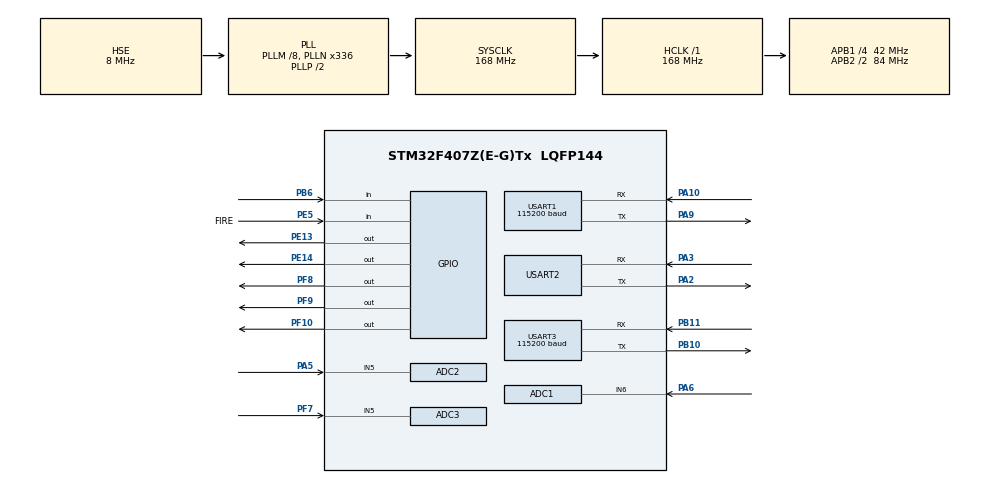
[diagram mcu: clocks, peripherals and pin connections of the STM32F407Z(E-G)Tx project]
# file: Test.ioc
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ADC1.Channel-0\#ChannelRegularConversion=ADC_CHANNEL_6
ADC1.NbrOfConversionFlag=1
ADC1.Rank-0\#ChannelRegularConversion=1
ADC1.SamplingTime-0\#ChannelRegularConversion=ADC_SAMPLETIME_3CYCLES
ADC1.master=1
ADC2.Channel-0\#ChannelRegularConversion=ADC_CHANNEL_5
ADC2.NbrOfConversionFlag=1
ADC2.Rank-0\#ChannelRegularConversion=1
ADC2.SamplingTime-0\#ChannelRegularConversion=ADC_SAMPLETIME_3CYCLES
ADC3.Channel-1\#ChannelRegularConversion=ADC_CHANNEL_5
ADC3.ContinuousConvMode=DISABLE
ADC3.NbrOfConversionFlag=1
ADC3.Rank-1\#ChannelRegularConversion=1
ADC3.SamplingTime-1\#ChannelRegularConversion=ADC_SAMPLETIME_3CYCLES
Dma.ADC3.0.Direction=DMA_PERIPH_TO_MEMORY
Dma.ADC3.0.FIFOMode=DMA_FIFOMODE_DISABLE
Dma.ADC3.0.Instance=DMA2_Stream0
Dma.ADC3.0.MemDataAlignment=DMA_MDATAALIGN_HALFWORD
Dma.ADC3.0.MemInc=DMA_MINC_DISABLE
Dma.ADC3.0.Mode=DMA_CIRCULAR
Dma.ADC3.0.PeriphDataAlignment=DMA_PDATAALIGN_HALFWORD
Dma.ADC3.0.PeriphInc=DMA_PINC_DISABLE
Dma.ADC3.0.Priority=DMA_PRIORITY_LOW
Dma.Request0=ADC3
Mcu.Family=STM32F4
Mcu.Name=STM32F407Z(E-G)Tx
Mcu.Package=LQFP144
NVIC.ADC_IRQn=true\:0\:0\:false\:false\:true\:false\:true\:true
NVIC.DMA2_Stream0_IRQn=true\:0\:0\:false\:false\:true\:false\:false\:true
NVIC.PriorityGroup=NVIC_PRIORITYGROUP_4
NVIC.USART1_IRQn=true\:0\:0\:false\:false\:true\:false\:true\:true
NVIC.USART2_IRQn=true\:0\:0\:false\:false\:true\:false\:true\:true
NVIC.USART3_IRQn=true\:0\:0\:false\:false\:true\:false\:true\:true
PA10.Mode=Asynchronous
PA10.Signal=USART1_RX
PA2.Mode=Asynchronous
PA2.Signal=USART2_TX
PA3.Mode=Asynchronous
PA3.Signal=USART2_RX
PA5.Signal=ADCx_IN5
PA6.Signal=ADCx_IN6
PA9.Mode=Asynchronous
PA9.Signal=USART1_TX
PB10.Mode=Asynchronous
PB10.Signal=USART3_TX
PB11.Mode=Asynchronous
PB11.Signal=USART3_RX
PB6.Signal=GPIO_Input
PC14-OSC32_IN.Mode=LSE-External-Oscillator
PC14-OSC32_IN.Signal=RCC_OSC32_IN
PC15-OSC32_OUT.Mode=LSE-External-Oscillator
PC15-OSC32_OUT.Signal=RCC_OSC32_OUT
PE13.Signal=GPIO_Output
PE14.Signal=GPIO_Output
PE5.GPIO_Label=FIRE
PE5.Signal=GPIO_Input
PF10.Signal=GPIO_Output
PF7.Mode=IN5
PF7.Signal=ADC3_IN5
PF8.Signal=GPIO_Output
PF9.Signal=GPIO_Output
PH0-OSC_IN.Mode=HSE-External-Oscillator
PH0-OSC_IN.Signal=RCC_OSC_IN
PH1-OSC_OUT.Mode=HSE-External-Oscillator
PH1-OSC_OUT.Signal=RCC_OSC_OUT
ProjectManager.HeapSize=0x200
ProjectManager.StackSize=0x400
ProjectManager.TargetToolchain=MDK-ARM V5
RCC.48MHZClocksFreq_Value=84000000
RCC.AHBFreq_Value=168000000
RCC.APB1CLKDivider=RCC_HCLK_DIV4
RCC.APB1Freq_Value=42000000
RCC.APB1TimFreq_Value=84000000
RCC.APB2CLKDivider=RCC_HCLK_DIV2
RCC.APB2Freq_Value=84000000
RCC.APB2TimFreq_Value=168000000
RCC.CortexFreq_Value=168000000
RCC.HCLKFreq_Value=168000000
RCC.HSE_VALUE=8000000
RCC.HSI_VALUE=16000000
RCC.PLLM=8
RCC.PLLN=336
RCC.PLLSourceVirtual=RCC_PLLSOURCE_HSE
RCC.SYSCLKFreq_VALUE=168000000
RCC.SYSCLKSource=RCC_SYSCLKSOURCE_PLLCLK
RCC.VCOOutputFreq_Value=336000000
RealThread.RT-Thread.3.1.5.RTOSJjdevice=true
RealThread.RT-Thread.3.1.5.RTOSJjkernel=true
RealThread.RT-Thread.3.1.5.RTOSJjshell=true
SH.ADCx_IN5.0=ADC2_IN5,IN5
SH.ADCx_IN6.0=ADC1_IN6,IN6
USART1.BaudRate=115200
USART1.VirtualMode=VM_ASYNC
USART2.VirtualMode=VM_ASYNC
USART3.BaudRate=115200
USART3.VirtualMode=VM_ASYNC
VP_RealThread.RT-Thread_VS_RTOSJjdevice_3.1.5_3.1.5.Mode=RTOSJjdevice
VP_RealThread.RT-Thread_VS_RTOSJjkernel_3.1.5_3.1.5.Mode=RTOSJjkernel
VP_RealThread.RT-Thread_VS_RTOSJjshell_3.1.5_3.1.5.Mode=RTOSJjshell
board=custom

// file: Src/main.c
/* USER CODE BEGIN Header */

/* USER CODE END Header */
#include "main.h"
#include "adc.h"
#include "dma.h"
#include "usart.h"
#include "gpio.h"

/* USER CODE BEGIN Includes */
#include "led.h"
#include "fire.h"
#include "smoke.h"
#include "light.h"
#include "wife.h"
#include <string.h>
#include <stdio.h>
#include "rtthread.h"
#include "stm32f4xx_it.h"
/* USER CODE END Includes */

void SystemClock_Config(void);

/* USER CODE BEGIN 0 */

uint16_t length1=0;
char com1[100]=	{0};
uint16_t length2=0;
char com2[100]=	{0};;
char c;//指令 0:停止  1:开始
char t[10]={0};
char h[10]={0};
int SendDataFlag=0;

//任务线程
struct rt_thread smoke_thread;
struct rt_thread fire_thread;
struct rt_thread light_thread;
//任务栈
rt_uint8_t rt_smoke_thread_stack[512];
rt_uint8_t rt_fire_thread_stack[512];
rt_uint8_t rt_light_thread_stack[512];
//任务函数
void smoke_task_entry(void *parameter);
void fire_task_entry(void *parameter);
void light_task_entry(void *parameter);

//初始化线程函数
void MX_RT_Thread_Init(void)
{
	//初始化线程
	/*
		静态线程对象
		线程名
		线程入口函数
		线程入口参数
		线程栈地址
		线程栈空间大小
		线程优先级
		线程时间片

	*/
	rt_thread_init(&smoke_thread,"smoke",smoke_task_entry,RT_NULL,&rt_smoke_thread_stack[0],sizeof(rt_smoke_thread_stack),2,60);
	rt_thread_init(&fire_thread,"fire",fire_task_entry,RT_NULL,&rt_fire_thread_stack[0],sizeof(rt_fire_thread_stack),3,60);
	rt_thread_init(&light_thread,"light",light_task_entry,RT_NULL,&rt_light_thread_stack[0],sizeof(rt_light_thread_stack),4,60);
	//开启线程调度
	rt_thread_startup(&smoke_thread);
	rt_thread_startup(&fire_thread);
	rt_thread_startup(&light_thread);
}

//烟雾检测任务
void smoke_task_entry(void *parameter)
{
	//1000ms闪烁一次
	while(1)
	{
		Detect_Smoke();
		//异常
		if(!SmokeFlog){
			//对应指示灯亮起
			HAL_GPIO_WritePin(GPIOF,GPIO_PIN_9,GPIO_PIN_RESET);
			//开启蜂鸣器
			HAL_GPIO_WritePin(GPIOF,GPIO_PIN_8,GPIO_PIN_SET);

		}
		else{
			//对应指示灯熄灭
			HAL_GPIO_WritePin(GPIOF,GPIO_PIN_9,GPIO_PIN_SET);
			//均无异常关闭蜂鸣器
			if(SmokeFlog && FireFlag && LightFlag){
				HAL_GPIO_WritePin(GPIOF,GPIO_PIN_8,GPIO_PIN_RESET);
			}
		}
		//延时1000ms
		rt_thread_mdelay(1000);
	}
}
//火焰检测任务
void fire_task_entry(void *parameter)
{
	//1000ms闪烁一次
	while(1)
	{
		Detect_Fire();
		//异常
		if(!FireFlag){
			//对应指示灯亮起
			HAL_GPIO_WritePin(GPIOF,GPIO_PIN_10,GPIO_PIN_RESET);
			//开启蜂鸣器
			HAL_GPIO_WritePin(GPIOF,GPIO_PIN_8,GPIO_PIN_SET);

		}
		else{
			//对应指示灯熄灭
			HAL_GPIO_WritePin(GPIOF,GPIO_PIN_10,GPIO_PIN_SET);
			//均无异常关闭蜂鸣器
			if(SmokeFlog && FireFlag && LightFlag){
				HAL_GPIO_WritePin(GPIOF,GPIO_PIN_8,GPIO_PIN_RESET);
			}
		}
		//延时1000ms
		rt_thread_mdelay(1000);
	}
}
//光照检测任务
void light_task_entry(void *parameter)
{
	//1000ms闪烁一次
	while(1)
	{
		Detect_Light();
		//异常
		if(!LightFlag){
			//对应指示灯亮起
			HAL_GPIO_WritePin(GPIOE,GPIO_PIN_13,GPIO_PIN_RESET);
			//开启蜂鸣器
			HAL_GPIO_WritePin(GPIOF,GPIO_PIN_8,GPIO_PIN_SET);
		}
		else{
			//对应指示灯熄灭
			HAL_GPIO_WritePin(GPIOE,GPIO_PIN_13,GPIO_PIN_SET);
			//均无异常关闭蜂鸣器
			if(SmokeFlog && FireFlag && LightFlag){
				HAL_GPIO_WritePin(GPIOF,GPIO_PIN_8,GPIO_PIN_RESET);
			}
		}
		//延时1000ms
		rt_thread_mdelay(1000);
	}
}

/* USER CODE END 0 */

int main(void)
{

  /* MCU Configuration--------------------------------------------------------*/

  /* Reset of all peripherals, Initializes the Flash interface and the Systick. */
  //HAL_Init();

  /* Configure the system clock */
  //SystemClock_Config();

  /* Initialize all configured peripherals */
	MX_GPIO_Init();
	MX_USART1_UART_Init();
	MX_ADC2_Init();
	MX_DMA_Init();
	MX_ADC3_Init();
	MX_USART2_UART_Init();
	MX_ADC1_Init();
	MX_USART3_UART_Init();

  /* USER CODE BEGIN 2 */
	//设置中断
	HAL_UART_Receive_IT(&huart1, (uint8_t *)&c, 1);
	HAL_UART_Receive_IT(&huart2, (uint8_t *)&c, 1);
	HAL_UART_Receive_IT(&huart3, (uint8_t *)&c, 1);

	//初始化LED
	LED_SET();

	//初始化WiFi模块
	WIFI_Init();
	Led_Toggle();
	rt_thread_mdelay(400);
	Led_Toggle();
	rt_thread_mdelay(400);
	Led_Toggle();
	rt_thread_mdelay(400);
	Led_Toggle();
	rt_thread_mdelay(400);
	Led_Toggle();
	rt_thread_mdelay(400);
	Led_Toggle();

	//开启多线程任务
	MX_RT_Thread_Init();
  /* USER CODE END 2 */

  /* Infinite loop */
  /* USER CODE BEGIN WHILE */

	//	int i=0;
	while (1)
	{

		if(SendDataFlag==1){
			//发送温度
			WIFI_SendTempData(t);
			//发送湿度
			WIFI_SendHumData(h);

			printf("温度: %d \t 湿度: %d",((t[0]-'0')*10+(t[1]-'0')),((h[0]-'0')*10+(h[1]-'0')));
			memset(t,0,sizeof(t));
			memset(h,0,sizeof(h));

			HAL_GPIO_TogglePin(GPIOE, GPIO_PIN_14);
			rt_thread_mdelay(500);
			HAL_GPIO_TogglePin(GPIOE, GPIO_PIN_14);
			rt_thread_mdelay(500);
			SendDataFlag=0;
		}
		rt_thread_mdelay(500);
	}

    /* USER CODE END WHILE */

}

void SystemClock_Config(void)
{
  RCC_OscInitTypeDef RCC_OscInitStruct = {0};
  RCC_ClkInitTypeDef RCC_ClkInitStruct = {0};

  /** Configure the main internal regulator output voltage
  */
  __HAL_RCC_PWR_CLK_ENABLE();
  __HAL_PWR_VOLTAGESCALING_CONFIG(PWR_REGULATOR_VOLTAGE_SCALE1);
  /** Initializes the RCC Oscillators according to the specified parameters
  * in the RCC_OscInitTypeDef structure.
  */
  RCC_OscInitStruct.OscillatorType = RCC_OSCILLATORTYPE_HSE;
  RCC_OscInitStruct.HSEState = RCC_HSE_ON;
  RCC_OscInitStruct.PLL.PLLState = RCC_PLL_ON;
  RCC_OscInitStruct.PLL.PLLSource = RCC_PLLSOURCE_HSE;
  RCC_OscInitStruct.PLL.PLLM = 8;
  RCC_OscInitStruct.PLL.PLLN = 336;
  RCC_OscInitStruct.PLL.PLLP = RCC_PLLP_DIV2;
  RCC_OscInitStruct.PLL.PLLQ = 4;
  if (HAL_RCC_OscConfig(&RCC_OscInitStruct) != HAL_OK)
  {
    Error_Handler();
  }
  /** Initializes the CPU, AHB and APB buses clocks
  */
  RCC_ClkInitStruct.ClockType = RCC_CLOCKTYPE_HCLK|RCC_CLOCKTYPE_SYSCLK
                              |RCC_CLOCKTYPE_PCLK1|RCC_CLOCKTYPE_PCLK2;
  RCC_ClkInitStruct.SYSCLKSource = RCC_SYSCLKSOURCE_PLLCLK;
  RCC_ClkInitStruct.AHBCLKDivider = RCC_SYSCLK_DIV1;
  RCC_ClkInitStruct.APB1CLKDivider = RCC_HCLK_DIV4;
  RCC_ClkInitStruct.APB2CLKDivider = RCC_HCLK_DIV2;

  if (HAL_RCC_ClockConfig(&RCC_ClkInitStruct, FLASH_LATENCY_5) != HAL_OK)
  {
    Error_Handler();
  }
}

/* USER CODE BEGIN 4 */

//接受中断处理回调
void HAL_UART_RxCpltCallback(UART_HandleTypeDef *huart)
{
	//串口一
	if(huart==&huart1){
		com1[length1++]=c;
		if(com1[length1-2] == 0x0D && com1[length1-1] == 0x0A){
				HAL_UART_Transmit(&huart3, (uint8_t *)&com1, strlen(com1),0xFFFF);
				length1=0;
				printf("%s",com1);
				memset(com1,0,sizeof(com1));
		}

		//重新设置中断
		HAL_UART_Receive_IT(&huart1, (uint8_t *)&c, 1);
	}

	//串口二
	else if(huart==&huart2){
		{
			com2[length2++]=c;
			if(length2>99){
				length2=0;
				memset(com2,0,sizeof(com2));
			}
			else{
				if(com2[length2-2] == 0x0D && com2[length2-1] == 0x0A){
					//获取温度
					t[0]=com2[2];
					t[1]=com2[3];
					t[2]='\r';
					t[3]='\n';
					//获取湿度
					h[0]=com2[6];
					h[1]=com2[7];
					h[2]='\r';
					h[3]='\n';
					SendDataFlag=1;
					//打印温湿度
					length2=0;
					memset(com2,0,sizeof(com2));

				}
			}

		}
					//重新设置中断
		HAL_UART_Receive_IT(&huart2, (uint8_t *)&c, 1);
	}

	else if(huart==&huart3){
		buf[length3++]=c;
		if(buf[length3-2] == 0x0D && buf[length3-1] == 0x0A){
				for(int i=0;i<length3;i++){
						com3[i]=buf[i];
				}
				memset(buf,0,sizeof(buf));
				length3=0;
		}
		//重新设置中断
		HAL_UART_Receive_IT(&huart3, (uint8_t *)&c, 1);
	}
}

/* USER CODE END 4 */

void Error_Handler(void)
{
}

/************************ (C) COPYRIGHT STMicroelectronics *****END OF FILE****/
